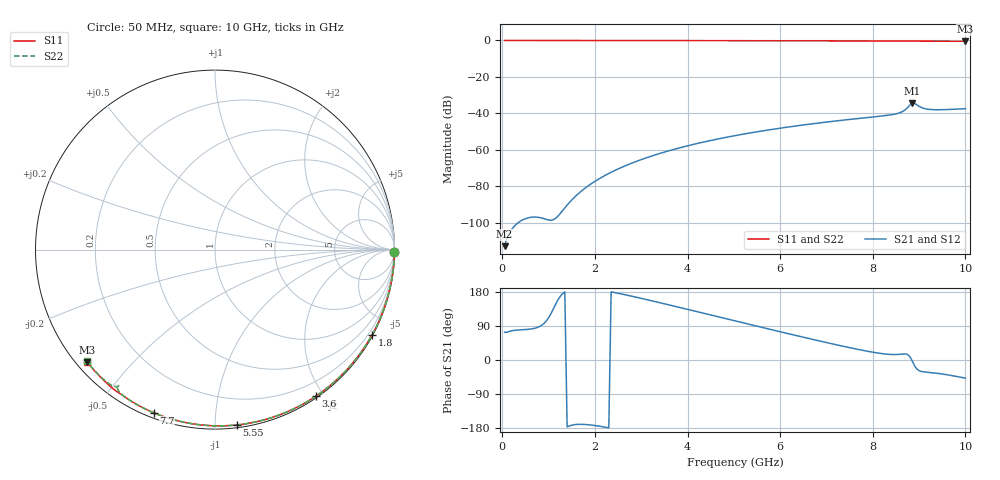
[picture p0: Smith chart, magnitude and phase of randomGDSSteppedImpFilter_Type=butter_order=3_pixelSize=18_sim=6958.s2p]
! freq	dB(S11)	phase(S11)	dB(S12)	phase(S12)
!  dB(S21)	phase(S21)	dB(S22)	phase(S22)
!S-par simulation data
#  GHz  S  DB  R 50
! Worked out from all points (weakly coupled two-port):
!   200 points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, 50 MHz to 10 GHz, reference 50 ohm
!   highest |S21| = -34.49 dB at 8.85 GHz (marker M1); lowest = -112.9 dB at 50 MHz (marker M2)
!   lowest |S11| = -0.5 dB at 10 GHz (marker M3), VSWR 37.38, Z = 1.53 - j18.9 ohm
!   |S11| at or under -10 dB: nowhere
!   |S22| runs from -0.7 to 0.0 dB; largest |S21 - S12| = 0
!   S11 on the Smith chart (normalised r, x): 50 MHz: open; 1.8 GHz: 0.03, -3.95; 3.6 GHz: 0.02, -1.90; 5.55 GHz: 0.02, -1.13; 7.7 GHz: 0.02, -0.69; 10 GHz: 0.03, -0.38
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0.05  -0.00 -0.8  -112.90 73.2  -112.90 73.2  -0.00 -0.8
0.9  -0.02 -14.4  -97.81 96.5  -97.81 96.5  -0.02 -14.4
1.75  -0.04 -27.7  -81.79 -169.9  -81.79 -169.9  -0.04 -27.8
1.8  -0.04 -28.4  -80.81 -170.2  -80.81 -170.2  -0.04 -28.5
1.85  -0.04 -29.2  -79.88 -170.7  -79.88 -170.7  -0.04 -29.3
2.15  -0.04 -33.8  -75.03 -175.7  -75.03 -175.7  -0.04 -33.9
2.55  -0.05 -39.9  -69.94 174.9  -69.94 174.9  -0.05 -40.1
2.95  -0.06 -45.9  -65.84 164.1  -65.84 164.1  -0.06 -46.1
3.4  -0.07 -52.6  -62.02 151.3  -62.02 151.3  -0.07 -52.8
3.6  -0.07 -55.5  -60.52 145.4  -60.52 145.4  -0.08 -55.7
4.3  -0.09 -65.6  -56.01 124.7  -56.01 124.7  -0.09 -65.8
5.05  -0.12 -76.1  -52.12 102.5  -52.12 102.5  -0.12 -76.3
5.55  -0.14 -82.8  -49.91 87.7  -49.91 87.7  -0.14 -83.2
6.7  -0.19 -97.9  -45.72 54.4  -45.72 54.4  -0.19 -98.4
7.7  -0.25 -110.6  -42.80 27.5  -42.80 27.5  -0.25 -111.2
8.35  -0.31 -118.6  -40.97 14.9  -40.97 14.9  -0.31 -119.5
8.65  -0.34 -122.2  -38.92 15.9  -38.92 15.9  -0.39 -123.6
8.85  -0.34 -124.5  -34.49 -1.9  -34.49 -1.9  -0.66 -125.5
8.9  -0.34 -125.2  -34.52 -14.7  -34.52 -14.7  -0.64 -125.3
9.1  -0.36 -127.7  -37.27 -31.3  -37.27 -31.3  -0.44 -127.5
9.25  -0.38 -129.5  -37.91 -33.1  -37.91 -33.1  -0.42 -129.5
10  -0.46 -138.6  -37.43 -47.9  -37.43 -47.9  -0.47 -139.0
